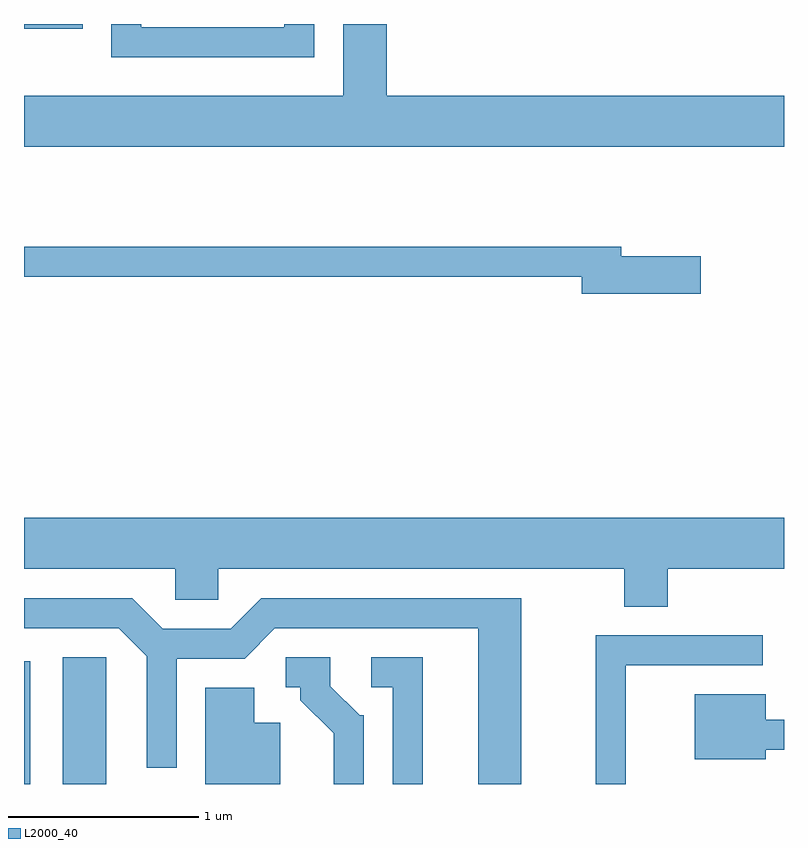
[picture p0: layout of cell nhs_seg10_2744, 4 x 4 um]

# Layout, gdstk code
import gdstk
lib = gdstk.Library(unit=1e-6, precision=1e-09)
def R(c, l, rs):  # rectangles x0, y0, x1, y1
    for r in rs: c.add(gdstk.rectangle(r[:2], r[2:], *l))
def P(c, l, *ps):  # polygons
    for p in ps: c.add(gdstk.Polygon(p, *l))
L2000_40 = (2000, 40)

nhs_seg10_2744 = lib.new_cell('nhs_seg10_2744')
R(nhs_seg10_2744, L2000_40, [(265.611,2150.522,265.644,2151.169), (265.816,2150.522,266.044,2151.189), (265.611,2154.496,265.919,2154.522)])
P(nhs_seg10_2744, L2000_40, [(269.611,2154.144),(267.519,2154.144),(267.519,2154.522),(267.291,2154.522),(267.291,2154.144),(265.611,2154.144),(265.611,2153.876),(269.611,2153.876)],
  [(267.139,2154.522),(266.981,2154.522),(266.981,2154.504),(266.229,2154.504),(266.229,2154.522),(266.071,2154.522),(266.071,2154.346),(267.139,2154.346)],
  [(269.174,2153.299),(268.754,2153.299),(268.754,2153.349),(265.611,2153.349),(265.611,2153.191),(268.546,2153.191),(268.546,2153.101),(269.174,2153.101)],
  [(268.999,2151.656),(269.611,2151.656),(269.611,2151.924),(265.611,2151.924),(265.611,2151.656),(266.406,2151.656),(266.406,2151.491),(266.634,2151.491),(266.634,2151.656),(268.771,2151.656),(268.771,2151.456),(268.999,2151.456)],
  [(268.229,2151.499),(266.859,2151.499),(266.699,2151.339),(266.342,2151.339),(266.182,2151.499),(265.611,2151.499),(265.611,2151.341),(266.109,2151.341),(266.256,2151.194),(266.256,2150.608),(266.414,2150.608),(266.414,2151.181),(266.772,2151.181),(266.932,2151.341),(268.001,2151.341),(268.001,2150.522),(268.229,2150.522)],
  [(268.779,2151.146),(269.498,2151.146),(269.498,2151.304),(268.621,2151.304),(268.621,2150.522),(268.779,2150.522)],
  [(267.399,2150.884),(267.377,2150.884),(267.224,2151.037),(267.224,2151.189),(266.988,2151.189),(266.988,2151.031),(267.066,2151.031),(267.066,2150.964),(267.241,2150.789),(267.241,2150.522),(267.399,2150.522)],
  [(267.709,2151.189),(267.438,2151.189),(267.438,2151.031),(267.551,2151.031),(267.551,2150.522),(267.709,2150.522)],
  [(266.959,2150.844),(266.824,2150.844),(266.824,2151.029),(266.566,2151.029),(266.566,2150.522),(266.959,2150.522)],
  [(269.514,2150.701),(269.611,2150.701),(269.611,2150.859),(269.514,2150.859),(269.514,2150.994),(269.141,2150.994),(269.141,2150.651),(269.514,2150.651)])

lib.write_gds('nhs_seg10_2744.gds')
